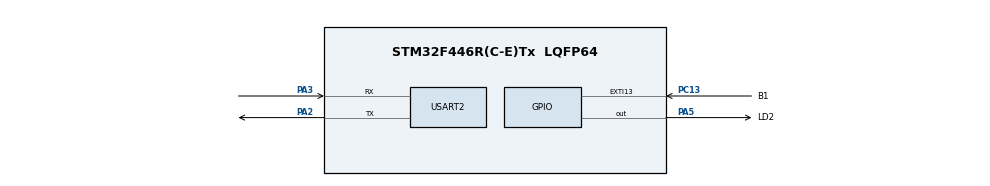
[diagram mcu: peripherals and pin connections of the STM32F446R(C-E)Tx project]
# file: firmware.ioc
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Mcu.Family=STM32F4
Mcu.Name=STM32F446R(C-E)Tx
Mcu.Package=LQFP64
NVIC.EXTI15_10_IRQn=true\:0\:0\:false\:false\:true\:true\:true\:true
NVIC.PriorityGroup=NVIC_PRIORITYGROUP_4
PA13.Mode=Serial_Wire
PA13.Signal=SYS_JTMS-SWDIO
PA14.Mode=Serial_Wire
PA14.Signal=SYS_JTCK-SWCLK
PA2.Mode=Asynchronous
PA2.Signal=USART2_TX
PA3.Mode=Asynchronous
PA3.Signal=USART2_RX
PA5.GPIO_Label=LD2
PA5.Signal=GPIO_Output
PC13.GPIO_Label=B1
PC13.GPIO_ModeDefaultEXTI=GPIO_MODE_IT_FALLING
PC13.GPIO_PuPd=GPIO_NOPULL
PC13.Signal=GPXTI13
PH0-OSC_IN.Mode=HSE-External-Clock-Source
PH0-OSC_IN.Signal=RCC_OSC_IN
PH1-OSC_OUT.Mode=HSE-External-Clock-Source
PH1-OSC_OUT.Signal=RCC_OSC_OUT
ProjectManager.HeapSize=0x200
ProjectManager.StackSize=0x400
ProjectManager.TargetToolchain=STM32CubeIDE
RCC.CortexFreq_Value=16000000
RCC.USBFreq_Value=96000000
RCC.VCOOutputFreq_Value=192000000
SYS.DebugMode=Serial_Wire
USART2.VirtualMode=VM_ASYNC
board=custom

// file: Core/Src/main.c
/* USER CODE BEGIN Header */
/**
  ******************************************************************************
  * @file           : main.c
  * @brief          : Main program body
  ******************************************************************************
  * @attention
  *
  * Copyright (c) 2026 STMicroelectronics.
  * All rights reserved.
  *
  * This software is licensed under terms that can be found in the LICENSE file
  * in the root directory of this software component.
  * If no LICENSE file comes with this software, it is provided AS-IS.
  *
  ******************************************************************************
  */
/* USER CODE END Header */
#include "main.h"

/* USER CODE BEGIN Includes */
#include "level_check.h"
#include "status_LEDs.h"
#include "pump_control.h"
#include "dose_calc.h"
/* USER CODE END Includes */

UART_HandleTypeDef huart2;

void SystemClock_Config(void);
static void MX_GPIO_Init(void);
static void MX_USART2_UART_Init(void);

int main(void)
{

  /* MCU Configuration--------------------------------------------------------*/

  /* Reset of all peripherals, Initializes the Flash interface and the Systick. */
  HAL_Init();

  /* Configure the system clock */
  SystemClock_Config();

  /* Initialize all configured peripherals */
  MX_GPIO_Init();
  MX_USART2_UART_Init();
  /* USER CODE BEGIN 2 */
  level_check_init();
  status_leds_init();
  pump_control_init();
  /* USER CODE END 2 */

  /* Infinite loop */
  while (1)
  {

    /* USER CODE BEGIN 3 */
	  // NOTE: loop body lives inside USER CODE BEGIN/END 3, not after
	  // USER CODE END WHILE. The gap between END WHILE and BEGIN 3 is
	  // generated territory and CubeMX wipes it on every regeneration.
	  // one sampling point for every float switch. the getters below are
	  // plain reads of the debounced state afterwards, so branching past
	  // one of them can't stall its debounce.
	  level_check_update();

	  // latches on once the level drops below the refill mark, and only
	  // clears once the tank is actually topped back up to the full mark -
	  // so yellow stays on for the whole refill cycle, not just until the
	  // level ticks back above the refill switch.
	  static bool needs_refill = false;

	  if (tank_is_full())
	  {
		  needs_refill = false;
	  }
	  else if (tank_below_refill())
	  {
		  needs_refill = true;
	  }

	  tank_state_t tank_state;
	  if (tank_is_low())
	  {
		  tank_state = TANK_LOW;
	  }
	  else if (needs_refill)
	  {
		  tank_state = TANK_REFILL;
	  }
	  else
	  {
		  tank_state = TANK_FULL;
	  }
	  tank_leds_set(tank_state);

	  bot1_leds_set(bot1_is_empty() ? BOT_EMPTY : BOT_FULL);
	  bot2_leds_set(bot2_is_empty() ? BOT_EMPTY : BOT_FULL);
	  bot3_leds_set(bot3_is_empty() ? BOT_EMPTY : BOT_FULL);
	  bot4_leds_set(bot4_is_empty() ? BOT_EMPTY : BOT_FULL);

	  pump_control_update();

	  // bench characterization: B1 press starts a test dose on the next
	  // pump in rotation, cycling A->B->C->D->A... so all 4 can be run
	  // without reflashing between them. debounced the same way as the
	  // level switches - sampled once per 50 ms loop pass. TODO: once
	  // dosing is closed-loop, remap B1 to an e-stop instead.
	  static dose_content_t next_test_pump = DOSE_CAL_NITRATE;
	  static bool button_stable = false;
	  static bool button_candidate = false;
	  static uint8_t button_count = 0;

	  bool button_raw = (HAL_GPIO_ReadPin(B1_GPIO_Port, B1_Pin) == GPIO_PIN_RESET);
	  if (button_raw == button_candidate)
	  {
		  if (button_count < 3) button_count++;
	  }
	  else
	  {
		  button_candidate = button_raw;
		  button_count = 1;
	  }

	  bool button_was_stable = button_stable;
	  if (button_count >= 3)
	  {
		  button_stable = button_candidate;
	  }

	  if (button_stable && !button_was_stable) // rising edge = press
	  {
		  // TODO: gate on !tank_is_low() before starting a dose.
		  if (pump_dose_start(next_test_pump, dose_calc_duration_ms(next_test_pump)))
		  {
			  next_test_pump = (next_test_pump + 1) % DOSE_CONTENT_COUNT;
		  }
	  }

	  bool any_pump_running = false;
	  for (int i = 0; i < DOSE_CONTENT_COUNT; i++)
	  {
		  if (pump_is_busy((dose_content_t)i))
		  {
			  any_pump_running = true;
		  }
	  }
	  // TODO: swap system LED to be for errors in the final code
	  sys_leds_set(any_pump_running ? SYS_OK : SYS_OFF); // System LED indicates pump running for debug

	  HAL_Delay(50);

  }
  /* USER CODE END 3 */
}

void SystemClock_Config(void)
{
  RCC_OscInitTypeDef RCC_OscInitStruct = {0};
  RCC_ClkInitTypeDef RCC_ClkInitStruct = {0};

  /** Configure the main internal regulator output voltage
  */
  __HAL_RCC_PWR_CLK_ENABLE();
  __HAL_PWR_VOLTAGESCALING_CONFIG(PWR_REGULATOR_VOLTAGE_SCALE3);

  /** Initializes the RCC Oscillators according to the specified parameters
  * in the RCC_OscInitTypeDef structure.
  */
  RCC_OscInitStruct.OscillatorType = RCC_OSCILLATORTYPE_HSI;
  RCC_OscInitStruct.HSIState = RCC_HSI_ON;
  RCC_OscInitStruct.HSICalibrationValue = RCC_HSICALIBRATION_DEFAULT;
  RCC_OscInitStruct.PLL.PLLState = RCC_PLL_NONE;
  if (HAL_RCC_OscConfig(&RCC_OscInitStruct) != HAL_OK)
  {
    Error_Handler();
  }

  /** Initializes the CPU, AHB and APB buses clocks
  */
  RCC_ClkInitStruct.ClockType = RCC_CLOCKTYPE_HCLK|RCC_CLOCKTYPE_SYSCLK
                              |RCC_CLOCKTYPE_PCLK1|RCC_CLOCKTYPE_PCLK2;
  RCC_ClkInitStruct.SYSCLKSource = RCC_SYSCLKSOURCE_HSI;
  RCC_ClkInitStruct.AHBCLKDivider = RCC_SYSCLK_DIV1;
  RCC_ClkInitStruct.APB1CLKDivider = RCC_HCLK_DIV1;
  RCC_ClkInitStruct.APB2CLKDivider = RCC_HCLK_DIV1;

  if (HAL_RCC_ClockConfig(&RCC_ClkInitStruct, FLASH_LATENCY_0) != HAL_OK)
  {
    Error_Handler();
  }
}

static void MX_USART2_UART_Init(void)
{

  huart2.Instance = USART2;
  huart2.Init.BaudRate = 115200;
  huart2.Init.WordLength = UART_WORDLENGTH_8B;
  huart2.Init.StopBits = UART_STOPBITS_1;
  huart2.Init.Parity = UART_PARITY_NONE;
  huart2.Init.Mode = UART_MODE_TX_RX;
  huart2.Init.HwFlowCtl = UART_HWCONTROL_NONE;
  huart2.Init.OverSampling = UART_OVERSAMPLING_16;
  if (HAL_UART_Init(&huart2) != HAL_OK)
  {
    Error_Handler();
  }

}

static void MX_GPIO_Init(void)
{
  GPIO_InitTypeDef GPIO_InitStruct = {0};

  /* GPIO Ports Clock Enable */
  __HAL_RCC_GPIOC_CLK_ENABLE();
  __HAL_RCC_GPIOH_CLK_ENABLE();
  __HAL_RCC_GPIOA_CLK_ENABLE();

  /*Configure GPIO pin Output Level */
  HAL_GPIO_WritePin(LD2_GPIO_Port, LD2_Pin, GPIO_PIN_RESET);

  /*Configure GPIO pin : B1_Pin */
  GPIO_InitStruct.Pin = B1_Pin;
  GPIO_InitStruct.Mode = GPIO_MODE_IT_FALLING;
  GPIO_InitStruct.Pull = GPIO_NOPULL;
  HAL_GPIO_Init(B1_GPIO_Port, &GPIO_InitStruct);

  /*Configure GPIO pin : LD2_Pin */
  GPIO_InitStruct.Pin = LD2_Pin;
  GPIO_InitStruct.Mode = GPIO_MODE_OUTPUT_PP;
  GPIO_InitStruct.Pull = GPIO_NOPULL;
  GPIO_InitStruct.Speed = GPIO_SPEED_FREQ_LOW;
  HAL_GPIO_Init(LD2_GPIO_Port, &GPIO_InitStruct);

  /* EXTI interrupt init*/
  HAL_NVIC_SetPriority(EXTI15_10_IRQn, 0, 0);
  HAL_NVIC_EnableIRQ(EXTI15_10_IRQn);

}

void Error_Handler(void)
{
  __disable_irq();
  while (1)
  {
  }
}
